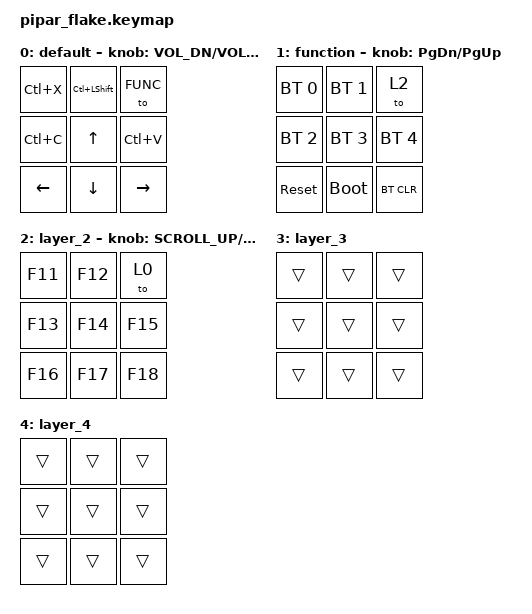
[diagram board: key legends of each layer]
/*
 * Copyright (c) 2022 The ZMK Contributors
 * SPDX-License-Identifier: MIT
 */

#include <behaviors.dtsi>
#include <dt-bindings/zmk/bt.h>
#include <dt-bindings/zmk/keys.h>

#define BASE        0
#define FUNC        1

/ {
    // --- Thêm đoạn này vào đây ---

    sensors {
        compatible = "zmk,keymap-sensors";
        sensors = <&encoder_1>;
        triggers-per-rotation = <24>;
    };

    // ----------------------------

    keymap {
        compatible = "zmk,keymap";

        default_layer {
            display-name = "default";
            bindings = <
&kp LC(X)  &kp LC(LEFT_SHIFT)  &to FUNC
&kp LC(C)  &kp UP              &kp LC(V)
&kp LEFT   &kp DOWN            &kp RIGHT
            >;

            // --- Thêm dòng này vào trong default_layer ---

            sensor-bindings = <&inc_dec_kp C_VOL_DN C_VOL_UP>;

            // --------------------------------------------
        };

        function_layer {
            display-name = "function";
            bindings = <
&bt BT_SEL 0  &bt BT_SEL 1  &to 2
&bt BT_SEL 2  &bt BT_SEL 3  &bt BT_SEL 4
&sys_reset    &bootloader   &bt BT_CLR
            >;

            // --- Có thể thêm cho cả function_layer nếu cần ---

            sensor-bindings = <&inc_dec_kp PG_DN PG_UP>;

            // --------------------------------------------
        };

        layer_2 {
            bindings = <
&kp F11  &kp F12  &to 0
&kp F13  &kp F14  &kp F15
&kp F16  &kp F17  &kp F18
            >;

            sensor-bindings = <&inc_dec_kp K_SCROLL_UP K_SCROLL_DOWN>;
        };

        layer_3 {
            bindings = <
&trans  &trans  &trans
&trans  &trans  &trans
&trans  &trans  &trans
            >;
        };

        layer_4 {
            bindings = <
&trans  &trans  &trans
&trans  &trans  &trans
&trans  &trans  &trans
            >;
        };
    };
};
